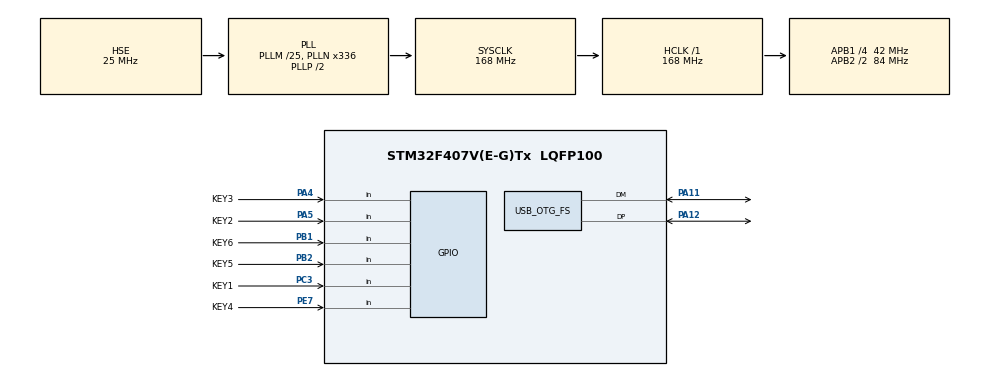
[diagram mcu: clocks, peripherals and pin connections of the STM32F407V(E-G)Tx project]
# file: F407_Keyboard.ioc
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Mcu.Family=STM32F4
Mcu.Name=STM32F407V(E-G)Tx
Mcu.Package=LQFP100
NVIC.OTG_FS_IRQn=true\:0\:0\:false\:false\:true\:false\:true
NVIC.PriorityGroup=NVIC_PRIORITYGROUP_4
PA11.Mode=Device_Only
PA11.Signal=USB_OTG_FS_DM
PA12.Mode=Device_Only
PA12.Signal=USB_OTG_FS_DP
PA13.Mode=Serial_Wire
PA13.Signal=SYS_JTMS-SWDIO
PA14.Mode=Serial_Wire
PA14.Signal=SYS_JTCK-SWCLK
PA4.GPIO_Label=KEY3
PA4.Signal=GPIO_Input
PA5.GPIO_Label=KEY2
PA5.Signal=GPIO_Input
PB1.GPIO_Label=KEY6
PB1.Signal=GPIO_Input
PB2.GPIO_Label=KEY5
PB2.Signal=GPIO_Input
PC3.GPIO_Label=KEY1
PC3.Signal=GPIO_Input
PE7.GPIO_Label=KEY4
PE7.Signal=GPIO_Input
PH0-OSC_IN.Mode=HSE-External-Oscillator
PH0-OSC_IN.Signal=RCC_OSC_IN
PH1-OSC_OUT.Mode=HSE-External-Oscillator
PH1-OSC_OUT.Signal=RCC_OSC_OUT
ProjectManager.HeapSize=0x600
ProjectManager.StackSize=0x400
ProjectManager.TargetToolchain=MDK-ARM V5.27
RCC.48MHZClocksFreq_Value=48000000
RCC.AHBFreq_Value=168000000
RCC.APB1CLKDivider=RCC_HCLK_DIV4
RCC.APB1Freq_Value=42000000
RCC.APB1TimFreq_Value=84000000
RCC.APB2CLKDivider=RCC_HCLK_DIV2
RCC.APB2Freq_Value=84000000
RCC.APB2TimFreq_Value=168000000
RCC.CortexFreq_Value=168000000
RCC.HCLKFreq_Value=168000000
RCC.HSE_VALUE=25000000
RCC.HSI_VALUE=16000000
RCC.LSE_VALUE=32768
RCC.PLLM=25
RCC.PLLN=336
RCC.PLLQ=7
RCC.SYSCLKFreq_VALUE=168000000
RCC.SYSCLKSource=RCC_SYSCLKSOURCE_PLLCLK
RCC.VCOOutputFreq_Value=336000000
USB_DEVICE.CLASS_NAME_FS=HID
USB_DEVICE.INTERFACE_STRING_HID_FS=HID_Keyboard
USB_DEVICE.PID_HID_FS=20315
USB_DEVICE.PRODUCT_STRING_HID_FS=ST_Keyboard
USB_DEVICE.VID-HID_FS=1055
USB_DEVICE.VirtualMode-HID_FS=Hid
USB_DEVICE.VirtualModeFS=Hid_FS
USB_OTG_FS.VirtualMode=Device_Only
VP_USB_DEVICE_VS_USB_DEVICE_HID_FS.Mode=HID_FS
board=custom

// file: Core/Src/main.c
/* USER CODE BEGIN Header */
/**
  ******************************************************************************
  * @file           : main.c
  * @brief          : Main program body
  ******************************************************************************
  * @attention
  *
  * <h2><center>&copy; Copyright (c) 2021 STMicroelectronics.
  * All rights reserved.</center></h2>
  *
  * This software component is licensed by ST under Ultimate Liberty license
  * SLA0044, the "License"; You may not use this file except in compliance with
  * the License. You may obtain a copy of the License at:
  *                             www.st.com/SLA0044
  *
  ******************************************************************************
  */
/* USER CODE END Header */
#include "main.h"
#include "usb_device.h"
#include "gpio.h"

/* USER CODE BEGIN Includes */
#include "usbd_hid.h"
#include "lib_key.h"
/* USER CODE END Includes */

/* USER CODE BEGIN PTD */

const uint8_t Keyboard_Char[26]=	\
{0x04,0x05,0x06,0x07,0x08,0x09,0x0a,0x0b,0x0c,0x0d,0x0e,0x0f,0x10,	\
 0x11,0x12,0x13,0x14,0x15,0x16,0x17,0x18,0x19,0x1a,0x1b,0x1c,0x1d};

uint8_t KeyBoard[8] = {0,0,0,0,0,0,0,0};
uint8_t KeyBoard01[8] = {0,0,0,0,0,0,0,0};
/* USER CODE END PTD */

void SystemClock_Config(void);

int main(void)
{
  /* USER CODE BEGIN 1 */
	uint8_t key_value;
  /* USER CODE END 1 */

  /* MCU Configuration--------------------------------------------------------*/

  /* Reset of all peripherals, Initializes the Flash interface and the Systick. */
  HAL_Init();

  /* Configure the system clock */
  SystemClock_Config();

  /* Initialize all configured peripherals */
  MX_GPIO_Init();
  MX_USB_DEVICE_Init();

  /* Infinite loop */
  /* USER CODE BEGIN WHILE */
  while (1)
  {
		key_value=KeysCan();
		if(key_value==KEY1_ON){
			KeyBoard[2]=Keyboard_Char[ascii_to_kb('Q')];
		}else if(key_value==KEY2_ON){
			KeyBoard[2]=Keyboard_Char[ascii_to_kb('W')];
		}else if(key_value==KEY3_ON){
			KeyBoard[2]=Keyboard_Char[ascii_to_kb('E')];
		}else if(key_value==KEY4_ON){
			KeyBoard[2]=Keyboard_Char[ascii_to_kb('R')];
		}else{
			KeyBoard[2]=0;
		}
		USBD_HID_SendReport(&hUsbDeviceFS,(uint8_t*)&KeyBoard01,sizeof(KeyBoard));
		HAL_Delay(15);
		USBD_HID_SendReport(&hUsbDeviceFS,(uint8_t*)&KeyBoard,sizeof(KeyBoard01));
		HAL_Delay(15);
		USBD_HID_SendReport(&hUsbDeviceFS,(uint8_t*)&KeyBoard01,sizeof(KeyBoard));
		HAL_Delay(15);
    /* USER CODE END WHILE */

  }
}

void SystemClock_Config(void)
{
  RCC_OscInitTypeDef RCC_OscInitStruct = {0};
  RCC_ClkInitTypeDef RCC_ClkInitStruct = {0};

  /** Configure the main internal regulator output voltage
  */
  __HAL_RCC_PWR_CLK_ENABLE();
  __HAL_PWR_VOLTAGESCALING_CONFIG(PWR_REGULATOR_VOLTAGE_SCALE1);
  /** Initializes the RCC Oscillators according to the specified parameters
  * in the RCC_OscInitTypeDef structure.
  */
  RCC_OscInitStruct.OscillatorType = RCC_OSCILLATORTYPE_HSE;
  RCC_OscInitStruct.HSEState = RCC_HSE_ON;
  RCC_OscInitStruct.PLL.PLLState = RCC_PLL_ON;
  RCC_OscInitStruct.PLL.PLLSource = RCC_PLLSOURCE_HSE;
  RCC_OscInitStruct.PLL.PLLM = 25;
  RCC_OscInitStruct.PLL.PLLN = 336;
  RCC_OscInitStruct.PLL.PLLP = RCC_PLLP_DIV2;
  RCC_OscInitStruct.PLL.PLLQ = 7;
  if (HAL_RCC_OscConfig(&RCC_OscInitStruct) != HAL_OK)
  {
    Error_Handler();
  }
  /** Initializes the CPU, AHB and APB buses clocks
  */
  RCC_ClkInitStruct.ClockType = RCC_CLOCKTYPE_HCLK|RCC_CLOCKTYPE_SYSCLK
                              |RCC_CLOCKTYPE_PCLK1|RCC_CLOCKTYPE_PCLK2;
  RCC_ClkInitStruct.SYSCLKSource = RCC_SYSCLKSOURCE_PLLCLK;
  RCC_ClkInitStruct.AHBCLKDivider = RCC_SYSCLK_DIV1;
  RCC_ClkInitStruct.APB1CLKDivider = RCC_HCLK_DIV4;
  RCC_ClkInitStruct.APB2CLKDivider = RCC_HCLK_DIV2;

  if (HAL_RCC_ClockConfig(&RCC_ClkInitStruct, FLASH_LATENCY_5) != HAL_OK)
  {
    Error_Handler();
  }
}

void Error_Handler(void)
{
  __disable_irq();
  while (1)
  {
  }
}

/************************ (C) COPYRIGHT STMicroelectronics *****END OF FILE****/
